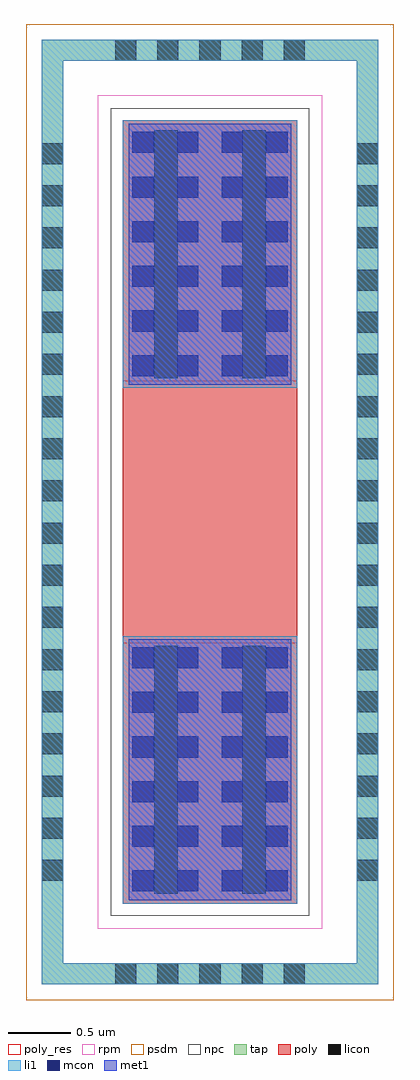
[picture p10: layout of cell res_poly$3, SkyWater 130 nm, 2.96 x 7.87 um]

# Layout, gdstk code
import gdstk
lib = gdstk.Library(unit=1e-6, precision=5e-09)
def R(c, l, rs):  # rectangles x0, y0, x1, y1
    for r in rs: c.add(gdstk.rectangle(r[:2], r[2:], *l))
def A(c, l, x, y, w, h, nx, ny, dx, dy):  # array of equal rectangles
    R(c, l, [(x+i*dx, y+j*dy, x+i*dx+w, y+j*dy+h) for i in range(nx) for j in range(ny)])
tap = (65, 44)
poly_res = (66, 13)
poly = (66, 20)
licon = (66, 44)
li1 = (67, 20)
mcon = (67, 44)
met1 = (68, 20)
rpm = (86, 20)
psdm = (94, 20)
npc = (95, 20)

res_poly_3 = lib.new_cell('res_poly$3')
R(res_poly_3, tap, [(-1.355,-3.81,1.355,-3.64), (-1.355,-3.64,-1.185,3.64), (1.185,-3.64,1.355,3.64), (-1.355,3.64,1.355,3.81)])
R(res_poly_3, poly_res, [(-0.705,-1.06,0.705,1.06)])
R(res_poly_3, poly, [(-0.705,-3.16,0.705,3.16)])
A(res_poly_3, licon, -0.765, -3.81, 0.17, 0.17, 5, 2, 0.34, 7.45)
A(res_poly_3, licon, -1.355, -2.975, 0.17, 0.17, 1, 18, 0, 0.34)
A(res_poly_3, licon, 1.185, -2.975, 0.17, 0.17, 1, 18, 0, 0.34)
R(res_poly_3, licon, [(-0.45,-3.08,-0.26,-1.08), (0.26,-3.08,0.45,-1.08), (-0.45,1.08,-0.26,3.08), (0.26,1.08,0.45,3.08)])
R(res_poly_3, li1, [(-1.355,-3.81,1.355,-3.64), (-1.355,-3.64,-1.185,3.64), (1.185,-3.64,1.355,3.64), (-0.705,-3.16,0.705,-1), (-0.705,1,0.705,3.16), (-1.355,3.64,1.355,3.81)])
A(res_poly_3, mcon, -0.625, -3.06, 0.17, 0.17, 4, 6, 0.36, 0.36)
A(res_poly_3, mcon, -0.625, 1.095, 0.17, 0.17, 4, 6, 0.36, 0.36)
R(res_poly_3, met1, [(-0.655,-3.13,0.655,-1.025), (-0.655,1.025,0.655,3.13)])
R(res_poly_3, rpm, [(-0.905,-3.36,0.905,3.36)])
R(res_poly_3, psdm, [(-1.48,-3.935,1.48,3.935)])
R(res_poly_3, npc, [(-0.8,-3.255,0.8,3.255)])

lib.write_gds('res_poly_3.gds')
